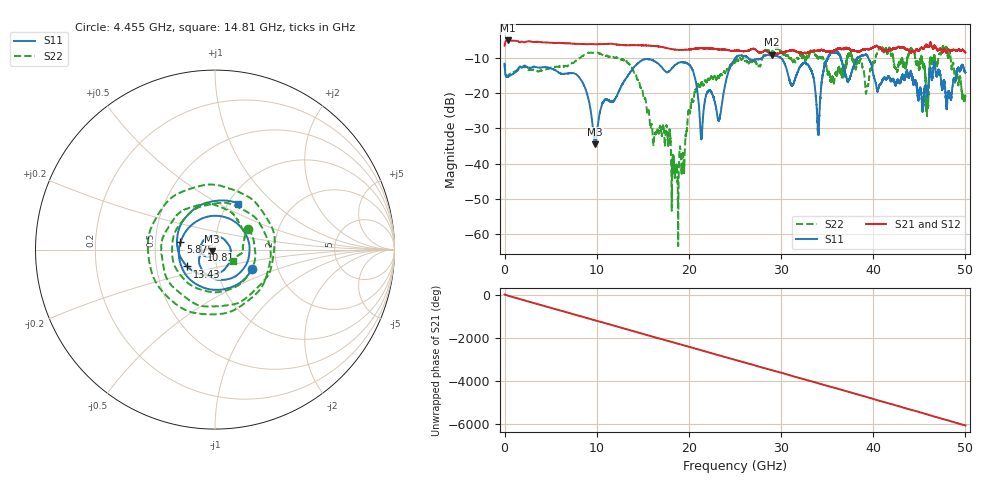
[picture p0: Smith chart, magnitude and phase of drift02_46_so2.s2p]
!Created with skrf (http://scikit-rf.org).
# Hz S RI R 50.0
!freq ReS11 ImS11 ReS21 ImS21 ReS12 ImS12 ReS22 ImS22
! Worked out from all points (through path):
!   10001 points, 300 kHz to 50 GHz, reference 50 ohm
!   highest |S21| = -5.04 dB at 325.3 MHz (marker M1); lowest = -9.0 dB at 29.01 GHz (marker M2)
!   group delay of S21, straight-line fit = 336 ps
!   lowest |S11| = -34.5 dB at 9.83 GHz (marker M3), VSWR 1.04, Z = 48.4 - j0.974 ohm
!   |S11| at or under -10 dB: start of sweep to 25.07 GHz; 29.97 GHz to 35.05 GHz (5.084 GHz wide, 15.6 % of centre); 39.48 GHz to end of sweep (the widest 3 of 9)
!   |S22| runs from -63.4 to -6.5 dB; largest |S21 - S12| = 0.022
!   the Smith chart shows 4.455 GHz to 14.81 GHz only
!   S11 on the Smith chart (normalised r, x): 4.455 GHz: 1.48, -0.33; 5.875 GHz: 0.68, +0.06; 10.81 GHz: 0.86, -0.00; 13.43 GHz: 0.72, -0.14; 14.81 GHz: 1.11, +0.62
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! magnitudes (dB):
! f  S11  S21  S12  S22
! 300 kHz  -11.6  -6.5  -6.4  -11.6
! 325.3 MHz  -15.4  -5.0  -5.0  -15.0
! 4.455 GHz  -12.6  -5.6  -5.6  -13.3
! 5.875 GHz  -14.1  -5.7  -5.7  -12.5
! 8.335 GHz  -16.5  -6.0  -6.0  -9.6
! 9.83 GHz  -34.5  -6.1  -6.1  -8.5
! 10.81 GHz  -22.2  -6.1  -6.1  -9.2
! 13.43 GHz  -14.8  -6.4  -6.4  -11.6
! 14.81 GHz  -10.8  -6.4  -6.4  -18.5
! 16.67 GHz  -11.6  -6.7  -6.7  -31.0
! 18.67 GHz  -11.7  -7.7  -7.7  -41.2
! 20.37 GHz  -13.3  -7.5  -7.5  -22.0
! 21.37 GHz  -32.3  -7.2  -7.2  -17.0
! 25 GHz  -10.3  -7.9  -8.0  -11.2
! 29.01 GHz  -9.1  -9.0  -9.0  -8.2
! 33.34 GHz  -13.9  -8.1  -8.1  -8.1
! 34.02 GHz  -31.7  -7.9  -7.9  -10.1
! 35.54 GHz  -8.4  -8.1  -8.1  -15.3
! 41.67 GHz  -15.3  -7.7  -7.8  -7.4
! 45.86 GHz  -20.8  -6.7  -6.8  -22.0
! 47.76 GHz  -17.0  -7.5  -7.5  -7.6
! 50 GHz  -14.1  -8.5  -8.4  -20.6
